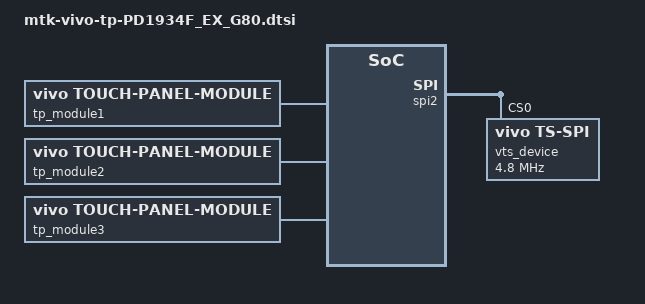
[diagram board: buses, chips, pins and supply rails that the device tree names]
/* Copyright (c) 2014-2015, The Linux Foundation. All rights reserved.
 *
 * This program is free software; you can redistribute it and/or modify
 * it under the terms of the GNU General Public License version 2 and
 * only version 2 as published by the Free Software Foundation.
 *
 * This program is distributed in the hope that it will be useful,
 * but WITHOUT ANY WARRANTY; without even the implied warranty of
 * MERCHANTABILITY or FITNESS FOR A PARTICULAR PURPOSE.  See the
 * GNU General Public License for more details.
 */
&touchscreencfg{

	tp_module1 {
		compatible = "vivo,touch-panel-module";
		vts-ic-number=<36>;
		vts-type=<0>;
		vts-lcmid=<65>;
		vts-dimention-x=<1080>;
		vts-dimention-y=<2340>;
		vts-tx-sensors=<16>;
		vts-rx-sensors=<36>;
		vts-incell=<1>;
		vts-need-caliberation=<0>;
		vts-virtual-proximinity=<0>;
		vts-long-press=<0>;
		vts-module-vendor=<0xF0>;
		vts-no-flash=<1>;
	};

	tp_module2 {
		compatible = "vivo,touch-panel-module";
		vts-ic-number=<81>;
		vts-type=<0>;
		vts-lcmid=<17>;
		vts-dimention-x=<1080>;
		vts-dimention-y=<2340>;
		vts-tx-sensors=<16>;
		vts-rx-sensors=<36>;
		vts-incell=<1>;
		vts-need-caliberation=<0>;
		vts-virtual-proximinity=<0>;
		vts-long-press=<0>;
		vts-module-vendor=<0xF0>;
		vts-no-flash=<1>;
	};

	tp_module3 {
		compatible = "vivo,touch-panel-module";
		vts-ic-number=<36>;
		vts-type=<0>;
		vts-lcmid=<1>;
		vts-dimention-x=<1080>;
		vts-dimention-y=<2340>;
		vts-tx-sensors=<16>;
		vts-rx-sensors=<36>;
		vts-incell=<1>;
		vts-need-caliberation=<0>;
		vts-virtual-proximinity=<0>;
		vts-long-press=<0>;
		vts-module-vendor=<0xF0>;
		vts-no-flash=<1>;
	};
};
&pio {
	spi_driving_set_cfg:spi_driving_set { 
		pins_cmd_dat { 
			pinmux = <PINMUX_GPIO25__FUNC_SPI2_CSB>,
					<PINMUX_GPIO27__FUNC_SPI2_CLK>,
					<PINMUX_GPIO28__FUNC_SPI2_MI>,
					<PINMUX_GPIO26__FUNC_SPI2_MO>;
			drive-strength = <2>; //0:2mA 1:4mA 2:6mA 3:8mA 4:10mA 5:12mA 6:14mA 7:16mA
		}; 
	};		
}; 
 
&spi2 {
	status = "okay";	
	
	vts_device@0 {
		compatible = "vivo,ts-spi";
		status = "okay";
		reg=<0>;
		spi-max-frequency = <4800000>;		
		
		pinctrl-names ="default";
		pinctrl-0 = <&spi_driving_set_cfg>;
		
		nt36672 {
			compatible = "novatek,NVT-ts-spi-v2";
			status = "ok";		
			
			vts-type=<0>;
			vts-ic-number=<81>;						
			
			spi-max-frequency = <9600000>;	//4800000,9600000,15000000,19200000
			//novatek,reset-gpio = <&pio 23 0x00>;
			novatek,irq-gpio = <&pio 1 0x2001>;
			//novatek,cs-gpio = <&pio 25 0x00>;
		
			sensor-test-key="com.nttouchscreen.mptest:MainActivity:android.intent.action.novatek:0:testResult";
			lcm-noise-test-key="com.nt36xxxtouchscreen.deltadiff:MainActivity:null:null:null";
			rawdata-test-key="com.nttouchscreen.getdata:MainActivity:null:null:null";
			rf-noise-test-key="com.nt36xxxtouchscreen.deltadiff:BspTest:android.intent.action.nvtdeltadiff:0:testResult";
			
			/* 672 */
			//novatek,swrst-n8-addr = <0x01F01A>;

			/* 672A */
			novatek,swrst-n8-addr = <0x03F0FE>;			
		};

		ft8719 {
			compatible = "focaltech,ft8719_v2";
			vts-type=<0>;
			vts-ic-number=<36>;
			spi-max-frequency = <8000000>;	//4800000,9600000,15000000,19200000
			focaltech,reset-gpio = <&pio 23 0x00>;
			focaltech,irq-gpio = <&pio 1 0x02>;
			//focaltech,cs-gpio = <&pio 25 0x00>;
			focaltech,max-touch-number = <10>;
			focaltech,display-coords = <0 0 1080 2340>;

			sensor-test-key="com.focaltouchscreen.sensortest:MainActivity:com.focaltouchscreen.sensortest:0:focal_test_result";
			lcm-noise-test-key="com.focaltech.deltadiff:MainActivity:null:null:null";
			rawdata-test-key="com.focaltech.deltadiff:DataActivity:null:null:null";
			rf-noise-test-key="com.focaltech.deltadiff:BspTestActivity:com.focaltech.deltadiff:0:testResult";			
		};	
	};
	

};
